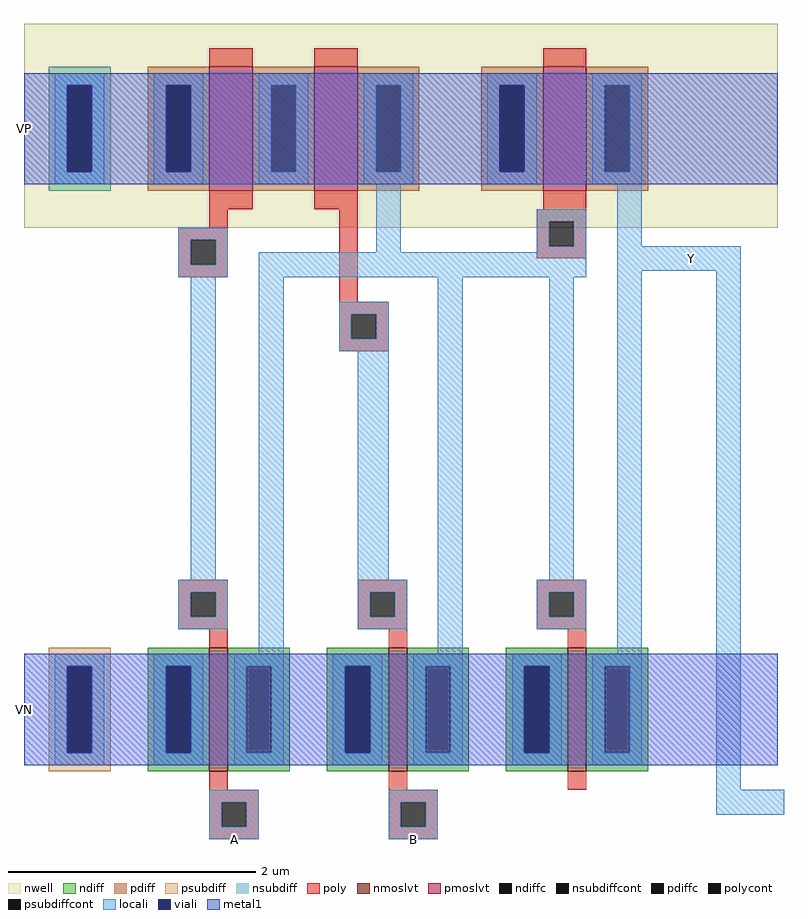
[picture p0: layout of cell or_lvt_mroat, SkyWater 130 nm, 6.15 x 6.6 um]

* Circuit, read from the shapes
.subckt or_lvt_mroat VP VN A B Y
XM1 n1 A VN VN sky130_fd_pr__nfet_01v8_lvt w=1 l=0.15
XM2 n1 B VN VN sky130_fd_pr__nfet_01v8_lvt w=1 l=0.15
XM3 Y n1 VN VN sky130_fd_pr__nfet_01v8_lvt w=1 l=0.15
XM4 n2 A VP VP sky130_fd_pr__pfet_01v8_lvt w=1 l=0.35
XM5 n1 B n2 VP sky130_fd_pr__pfet_01v8_lvt w=1 l=0.35
XM6 Y n1 VP VP sky130_fd_pr__pfet_01v8_lvt w=1 l=0.35
.ends

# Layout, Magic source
magic
tech sky130A
<< nwell >>
rect -205 115 405 280
<< pmoslvt >>
rect -55 145 -20 245
rect 30 145 65 245
rect 215 145 250 245
<< nmoslvt >>
rect -55 -325 -40 -225
rect 90 -325 105 -225
rect 235 -325 250 -225
<< ndiff >>
rect -105 -240 -55 -225
rect -105 -310 -90 -240
rect -70 -310 -55 -240
rect -105 -325 -55 -310
rect -40 -240 10 -225
rect -40 -310 -25 -240
rect -5 -310 10 -240
rect -40 -325 10 -310
rect 40 -240 90 -225
rect 40 -310 55 -240
rect 75 -310 90 -240
rect 40 -325 90 -310
rect 105 -240 155 -225
rect 105 -310 120 -240
rect 140 -310 155 -240
rect 105 -325 155 -310
rect 185 -240 235 -225
rect 185 -310 200 -240
rect 220 -310 235 -240
rect 185 -325 235 -310
rect 250 -240 300 -225
rect 250 -310 265 -240
rect 285 -310 300 -240
rect 250 -325 300 -310
<< pdiff >>
rect -105 230 -55 245
rect -105 160 -90 230
rect -70 160 -55 230
rect -105 145 -55 160
rect -20 230 30 245
rect -20 160 -5 230
rect 15 160 30 230
rect -20 145 30 160
rect 65 230 115 245
rect 65 160 80 230
rect 100 160 115 230
rect 65 145 115 160
rect 165 230 215 245
rect 165 160 180 230
rect 200 160 215 230
rect 165 145 215 160
rect 250 230 300 245
rect 250 160 265 230
rect 285 160 300 230
rect 250 145 300 160
<< ndiffc >>
rect -90 -310 -70 -240
rect -25 -310 -5 -240
rect 55 -310 75 -240
rect 120 -310 140 -240
rect 200 -310 220 -240
rect 265 -310 285 -240
<< pdiffc >>
rect -90 160 -70 230
rect -5 160 15 230
rect 80 160 100 230
rect 180 160 200 230
rect 265 160 285 230
<< psubdiff >>
rect -185 -240 -135 -225
rect -185 -310 -170 -240
rect -150 -310 -135 -240
rect -185 -325 -135 -310
<< nsubdiff >>
rect -185 230 -135 245
rect -185 160 -170 230
rect -150 160 -135 230
rect -185 145 -135 160
<< psubdiffcont >>
rect -170 -310 -150 -240
<< nsubdiffcont >>
rect -170 160 -150 230
<< poly >>
rect -55 245 -20 260
rect 30 245 65 260
rect 215 245 250 260
rect -55 130 -20 145
rect 30 130 65 145
rect 215 130 250 145
rect -55 115 -40 130
rect -80 105 -40 115
rect -80 85 -70 105
rect -50 85 -40 105
rect -80 75 -40 85
rect 50 55 65 130
rect 210 120 250 130
rect 210 100 220 120
rect 240 100 250 120
rect 210 90 250 100
rect 50 45 90 55
rect 50 25 60 45
rect 80 25 90 45
rect 50 15 90 25
rect -80 -180 -40 -170
rect -80 -200 -70 -180
rect -50 -200 -40 -180
rect -80 -210 -40 -200
rect 65 -180 105 -170
rect 65 -200 75 -180
rect 95 -200 105 -180
rect 65 -210 105 -200
rect 210 -180 250 -170
rect 210 -200 220 -180
rect 240 -200 250 -180
rect 210 -210 250 -200
rect -55 -225 -40 -210
rect 90 -225 105 -210
rect 235 -225 250 -210
rect -55 -340 -40 -325
rect 90 -340 105 -325
rect 235 -340 250 -325
rect -55 -350 -15 -340
rect -55 -370 -45 -350
rect -25 -370 -15 -350
rect -55 -380 -15 -370
rect 90 -350 130 -340
rect 90 -370 100 -350
rect 120 -370 130 -350
rect 90 -380 130 -370
<< polycont >>
rect -70 85 -50 105
rect 220 100 240 120
rect 60 25 80 45
rect -70 -200 -50 -180
rect 75 -200 95 -180
rect 220 -200 240 -180
rect -45 -370 -25 -350
rect 100 -370 120 -350
<< locali >>
rect -180 230 -140 240
rect -180 160 -170 230
rect -150 160 -140 230
rect -180 150 -140 160
rect -100 230 -60 240
rect -100 160 -90 230
rect -70 160 -60 230
rect -100 150 -60 160
rect -15 230 25 240
rect -15 160 -5 230
rect 15 160 25 230
rect -15 150 25 160
rect 70 230 110 240
rect 70 160 80 230
rect 100 160 110 230
rect 70 150 110 160
rect 170 230 210 240
rect 170 160 180 230
rect 200 160 210 230
rect 170 150 210 160
rect 255 230 295 240
rect 255 160 265 230
rect 285 160 295 230
rect 255 150 295 160
rect -80 105 -40 115
rect -80 85 -70 105
rect -50 85 -40 105
rect 80 95 100 150
rect 210 120 250 130
rect 210 100 220 120
rect 240 100 250 120
rect 210 95 250 100
rect -80 75 -40 85
rect -15 75 250 95
rect 275 100 295 150
rect 275 80 375 100
rect -70 -170 -50 75
rect -80 -180 -40 -170
rect -80 -200 -70 -180
rect -50 -200 -40 -180
rect -80 -210 -40 -200
rect -15 -230 5 75
rect 50 45 90 55
rect 50 25 60 45
rect 80 25 90 45
rect 50 15 90 25
rect 65 -170 90 15
rect 65 -180 105 -170
rect 65 -200 75 -180
rect 95 -200 105 -180
rect 65 -210 105 -200
rect 130 -230 150 75
rect 220 -170 240 75
rect 210 -180 250 -170
rect 210 -200 220 -180
rect 240 -200 250 -180
rect 210 -210 250 -200
rect 275 -230 295 80
rect -180 -240 -140 -230
rect -180 -310 -170 -240
rect -150 -310 -140 -240
rect -180 -320 -140 -310
rect -100 -240 -60 -230
rect -100 -310 -90 -240
rect -70 -310 -60 -240
rect -100 -320 -60 -310
rect -35 -240 5 -230
rect -35 -310 -25 -240
rect -5 -310 5 -240
rect -35 -320 5 -310
rect 45 -240 85 -230
rect 45 -310 55 -240
rect 75 -310 85 -240
rect 45 -320 85 -310
rect 110 -240 150 -230
rect 110 -310 120 -240
rect 140 -310 150 -240
rect 110 -320 150 -310
rect 190 -240 230 -230
rect 190 -310 200 -240
rect 220 -310 230 -240
rect 190 -320 230 -310
rect 255 -240 295 -230
rect 255 -310 265 -240
rect 285 -310 295 -240
rect 255 -320 295 -310
rect 355 -340 375 80
rect -55 -350 -15 -340
rect -55 -370 -45 -350
rect -25 -370 -15 -350
rect -55 -380 -15 -370
rect 90 -350 130 -340
rect 90 -370 100 -350
rect 120 -370 130 -350
rect 355 -360 410 -340
rect 90 -380 130 -370
<< viali >>
rect -170 160 -150 230
rect -90 160 -70 230
rect 180 160 200 230
rect -170 -310 -150 -240
rect -90 -310 -70 -240
rect 55 -310 75 -240
rect 200 -310 220 -240
<< metal1 >>
rect -205 230 405 240
rect -205 160 -170 230
rect -150 160 -90 230
rect -70 160 180 230
rect 200 160 405 230
rect -205 150 405 160
rect -205 -240 405 -230
rect -205 -310 -170 -240
rect -150 -310 -90 -240
rect -70 -310 55 -240
rect 75 -310 200 -240
rect 220 -310 405 -240
rect -205 -320 405 -310
<< labels >>
rlabel metal1 -205 195 -205 195 7 VP
port 1 w
rlabel locali 335 90 335 90 3 Y
port 5 e
rlabel metal1 -205 -275 -205 -275 7 VN
port 2 w
rlabel locali -35 -380 -35 -380 5 A
port 3 s
rlabel locali 110 -380 110 -380 5 B
port 4 s
<< end >>
